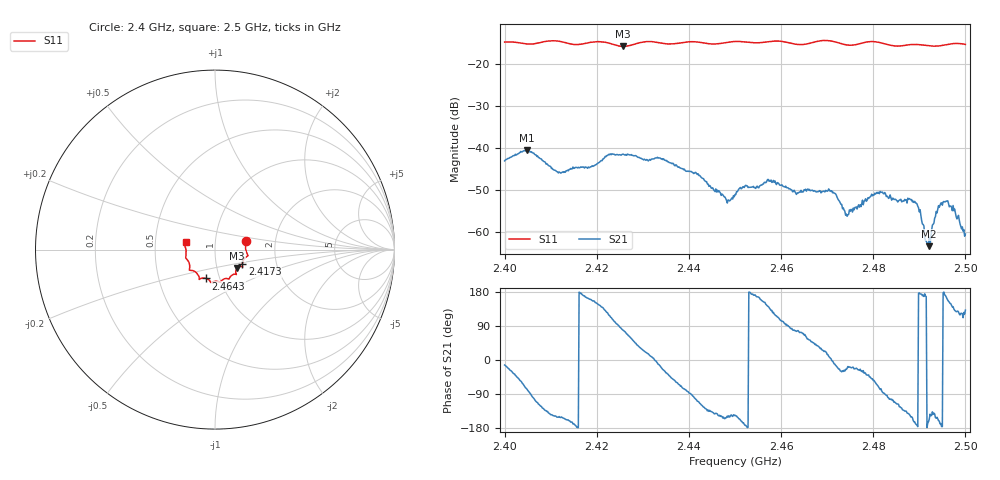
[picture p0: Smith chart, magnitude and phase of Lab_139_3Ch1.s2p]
# Hz S RI R 50
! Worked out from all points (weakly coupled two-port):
!   601 points, 2.4 GHz to 2.5 GHz, reference 50 ohm
!   highest |S21| = -40.55 dB at 2.4048 GHz (marker M1); lowest = -63.3 dB at 2.492 GHz (marker M2)
!   lowest |S11| = -15.9 dB at 2.4257 GHz (marker M3), VSWR 1.38, Z = 62.5 - j13.1 ohm
!   |S11| at or under -10 dB: start of sweep to end of sweep
!   S12 and S22 are empty: the file has one direction only
!   S11 on the Smith chart (normalised r, x): 2.4 GHz: 1.41, +0.14; 2.4173 GHz: 1.34, -0.23; 2.4643 GHz: 0.86, -0.28; 2.5 GHz: 0.72, +0.06
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2.4e9  0.1732 0.0493  0.00683 -0.0016  0 0  0 0
2.404833e9  0.1705 0.0158  0.00217 -0.00913  0 0  0 0
2.411833e9  0.1806 -0.0362  -0.00445 -0.00265  0 0  0 0
2.416667e9  0.1529 -0.0747  -0.00587 0.000455  0 0  0 0
2.417333e9  0.1522 -0.0821  -0.00566 0.00106  0 0  0 0
2.425667e9  0.1229 -0.1022  0.00162 0.00827  0 0  0 0
2.433333e9  0.1129 -0.137  0.00743 -0.00149  0 0  0 0
2.441833e9  0.0753 -0.164  -0.00157 -0.00458  0 0  0 0
2.4485e9  0.0337 -0.176  -0.0021 -0.00119  0 0  0 0
2.45e9  0.0294 -0.1807  -0.00231 -0.00158  0 0  0 0
2.457333e9  -0.0154 -0.1815  -0.00308 0.00262  0 0  0 0
2.464333e9  -0.0499 -0.1606  0.000916 0.003  0 0  0 0
2.466667e9  -0.0757 -0.1598  0.0021 0.00234  0 0  0 0
2.471333e9  -0.0872 -0.1613  0.00296 -0.000308  0 0  0 0
2.474167e9  -0.0986 -0.1344  0.00149 -0.00069  0 0  0 0
2.480667e9  -0.1429 -0.111  0.00131 -0.0026  0 0  0 0
2.483333e9  -0.1408 -0.0898  -0.00043 -0.00248  0 0  0 0
2.489167e9  -0.1626 -0.0452  -0.00218 -0.000457  0 0  0 0
2.492e9  -0.1608 -0.0253  -0.000651 -0.000204  0 0  0 0
2.494167e9  -0.1619 3.4e-05  -0.00194 -0.000705  0 0  0 0
2.495667e9  -0.1661 0.0162  -0.00226 0.000391  0 0  0 0
2.5e9  -0.1638 0.0421  -0.00063 0.000711  0 0  0 0
